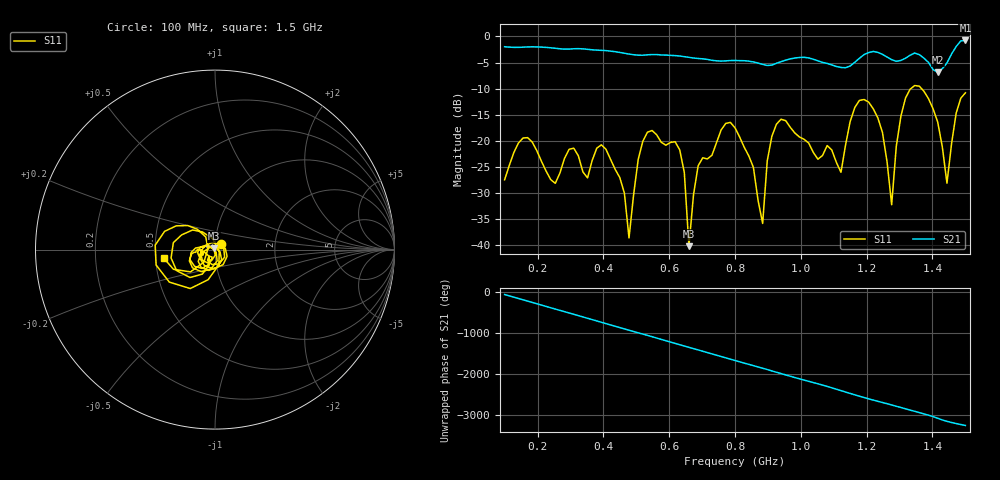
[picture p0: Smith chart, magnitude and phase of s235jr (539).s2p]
! NanoVNA-App
! Date: 2025-09-25 15:08:21
! Start: 100MHz Stop: 1,5GHz Points: 101
! S-Parameter data: F S11 S21 S12 S22
# Hz S RI R 50
!  Frequency  S11_Real  S11_Imag  S21_Real  S21_Imag  S12_Real  S12_Imag  S22_Real  S22_Imag
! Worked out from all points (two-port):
!   101 points, 100 MHz to 1.5 GHz, reference 50 ohm
!   highest |S21| = -0.76 dB at 1.5 GHz (marker M1); lowest = -6.9 dB at 1.416 GHz (marker M2)
!   |S21| within 3 dB of the highest: start of sweep to 634.2 MHz; 1.186 GHz to 1.257 GHz (71.03 MHz wide, 5.81 % of centre) (the widest 2 of 4)
!   lowest |S11| = -40.2 dB at 660 MHz (marker M3), VSWR 1.02, Z = 49.3 + j0.63 ohm
!   |S11| at or under -10 dB: start of sweep to 1.334 GHz; 1.367 GHz to end of sweep
!   S12 and S22 are empty: the file has one direction only
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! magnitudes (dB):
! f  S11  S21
! 100 MHz  -27.5  -2.0
! 156 MHz  -19.5  -2.0
! 338 MHz  -26.0  -2.4
! 408 MHz  -21.6  -2.7
! 478 MHz  -38.6  -3.4
! 520 MHz  -20.1  -3.6
! 576 MHz  -20.3  -3.5
! 632 MHz  -21.7  -3.7
! 660 MHz  -40.2  -4.0
! 688 MHz  -24.8  -4.2
! 800 MHz  -17.5  -4.6
! 884 MHz  -35.8  -5.3
! 926 MHz  -16.8  -5.1
! 1.038 GHz  -22.2  -4.4
! 1.122 GHz  -26.0  -5.9
! 1.206 GHz  -12.6  -3.1
! 1.248 GHz  -18.4  -3.4
! 1.276 GHz  -32.2  -4.4
! 1.332 GHz  -10.1  -3.6
! 1.416 GHz  -16.4  -6.9
! 1.444 GHz  -28.1  -5.1
! 1.5 GHz  -10.8  -0.8
